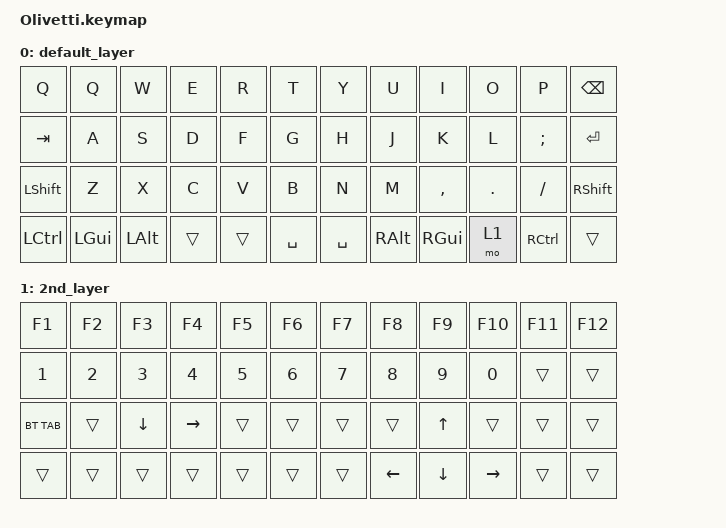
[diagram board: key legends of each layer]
/*
 * Copyright (c) 2021 Nick Winans
 *
 * SPDX-License-Identifier: MIT
 */

#include <behaviors.dtsi>
#include <dt-bindings/zmk/keys.h>
#include <dt-bindings/zmk/rgb.h>
#include <dt-bindings/zmk/bt.h>
/ {
    keymap {
        compatible = "zmk,keymap";

        default_layer {
            bindings = <
    &kp Q 	 	&kp Q  		&kp W  		&kp E  	&kp R  &kp T  		&kp Y  		&kp U  		&kp I  		&kp O  	&kp P  		&kp BSPC
    &kp TAB    	&kp A  		&kp S  		&kp D  	&kp F  &kp G  		&kp H  		&kp J  		&kp K  		&kp L  	&kp SEMI  	&kp RET
    &kp LSHFT  	&kp Z  		&kp X  		&kp C  	&kp V  &kp B  		&kp N  		&kp M  		&kp COMMA 	&kp DOT &kp FSLH    &kp RSHFT
    &kp LCTRL 	&kp LGUI 	&kp LALT 	&trans 	&trans &kp SPACE  	&kp SPACE   &kp RALT  	&kp RGUI  	&mo 1   &kp RCTRL	&trans
            >;
        };	
// ------------------------------------------------------------------------------------------
// | ESC |  Q  |  W  |  E  |  R  |  T  |  Y  |  U  |  I  |  O  |  P  | BKSP|  
// | TAB |  A  |  S  |  D  |  F  |  G  |  H  |  J  |  K  |  L  |  ;  |ENTER|         
// |SHIFT|  Z  |  X  |  C  |  V  |  B  |  N  |  M  |  ,  |  .  |  /  |SHIFT|
// | CTL | WIN |  ALT|     |     |  SPACE    |     | ALT |  WIN|MO(1)| CTL |
// ------------------------------------------------------------------------------------------
//
//
// ------------------------------------------------------------------------------------------
// | ESC |  1  |  2  |  3  |  4  |  5  |  6  |  7  |  8  |  9  |  0  |  -  |  =  |   BKSP   |
// | TAB |  Q  |  W  |  E  |  R  |  T  |  Y  |  U  |  I  |  O  |  P  |  [  |  ]  |   "|"   |
// |CAPS |  A  |  S  |  D  |  F  |  G  |  H  |  J  |  K  |  L  |  ;  |  '  |     ENTER    |
// |SHIFT|  Z  |  X  |  C  |  V  |  B  |  N  |  M  |  ,  |  .  |  /  |      SHIFT       |
// |  CTL  |  WIN  |  ALT  |            SPACE              |  ALT  |  WIN  |  MO(1) |  CTL  |
// ------------------------------------------------------------------------------------------
//
//	
//	
//    &  &kp N1 &kp N2 &kp N3 &kp N4 &kp N5 &kp N6 &kp N7 &kp N8 &kp N9 &kp N0 &kp MINUS &kp EQUAL  &kp BSPC
//    &kp gresc  &kp Q  &kp W  &kp E  &kp R  &kp T  &kp Y  &kp U  &kp I  &kp O  &kp P  &kp LBKT  &kp RBKT  &kp BSLH
//    &kp CLCK  &kp A  &kp S  &kp D  &kp F  &kp G  &kp H  &kp J  &kp K  &kp L  &kp SEMI &kp SQT           &kp RET
//    &kp LSHFT   &kp Z  &kp X  &kp C  &kp V  &kp B  &kp N  &kp M  &kp COMMA &kp DOT &kp FSLH           &kp RSHFT
//    &kp LCTRL &kp LGUI &kp LALT             &kp SPACE                     &kp RALT  &kp RGUI  &mo 1   &kp RCTRL
//
//
        2nd_layer {
		            bindings = <
    &kp F1    &kp F2  &kp F3  	&kp F4  	&kp F5   	&kp F6 	&kp F7   	&kp F8   	&kp F9   	&kp F10  	&kp F11 &kp F12 
    &kp N1    &kp N2  &kp N3  	&kp N4  	&kp N5   	&kp N6 	&kp N7   	&kp N8   	&kp N9   	&kp N0   	&trans  &trans 
    &bt TAB   &trans  &kp DOWN 	&kp RIGHT 	&trans  	&trans 	&trans 		&trans  	&kp UP   	&trans		&trans	&trans   
    &trans    &trans  &trans   	&trans 		&trans   	&trans  &trans 		&kp LEFT 	&kp DOWN  	&kp RIGHT 	&trans 	&trans
            >;
        };
    };
// ------------------------------------------------------------------------------------------
// | F1  | F2  | F3  | F4  | F5  | F6  | F7  | F8  | F9  | F10  | F11 | F12|
// | 1   |  2  |  3  |  4  |  5  |  6  |  7  |  8  |  9  |  0   |  :  |DEL |         
// | TAB |     |     |  '  |  =  |  +  |  -  |   [ |  ]  |  /   | UP  |    |
// |     |     |     |     |     |     |     |     |     |  LT  | DN  | RT |
// ------------------------------------------------------------------------------------------
};
//    &bt BT_CLR   &kp F1    &kp F2    &kp F3  &kp F4           &kp F5          &kp F6          &kp F7          &kp F8   &kp F9   &kp F10  &kp F11 &kp F12  &rgb_ug RGB_EFR
//    &bt BT_SEL 0  &trans    &kp UP    &trans  &rgb_ug RGB_HUI  &rgb_ug RGB_SAI &rgb_ug RGB_BRI &rgb_ug RGB_SPI  &trans   &trans   &trans   &trans  &trans          &trans
//    &bt BT_SEL 1   &kp LEFT  &kp DOWN  &kp RIGHT &rgb_ug RGB_HUD &rgb_ug RGB_SAD &rgb_ug RGB_BRD &rgb_ug RGB_SPD &trans   &trans   &trans   &trans        &rgb_ug RGB_EFF
//    &bt BT_SEL 2    &trans    &trans    &trans   &trans          &trans          &trans          &trans          &trans   &trans   &trans                          &trans
//    &bt BT_SEL 3  &trans   &trans                            &rgb_ug RGB_TOG                                      &kp PSCRN      &trans      &trans               &kp DEL
//
// ------------------------------------------------------------------------------------------------
// | BT CLR | F1  | F2  | F3  | F4  | F5  | F6  | F7  | F8  | F9  | F10  | F11 | F12 | EFFECT REV |
// |  BT 1   |   |  UP |   | HUEUP | SATUP | BRIUP | SPDUP |   |     |    |     |     |           |
// |   BT 2   | LT |  DN  | RT | HUEDN | SATDN | BRIDN | SPDDN |   |     |   |     |  EFFECT FORW |
// |    BT 3     |     |      |      |     |     |     |     |     |     |     |                  |
// |   BT 4  |      |      |             TOG RGB                | PRT SCR |       |       |  DEL  |
// ------------------------------------------------------------------------------------------------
